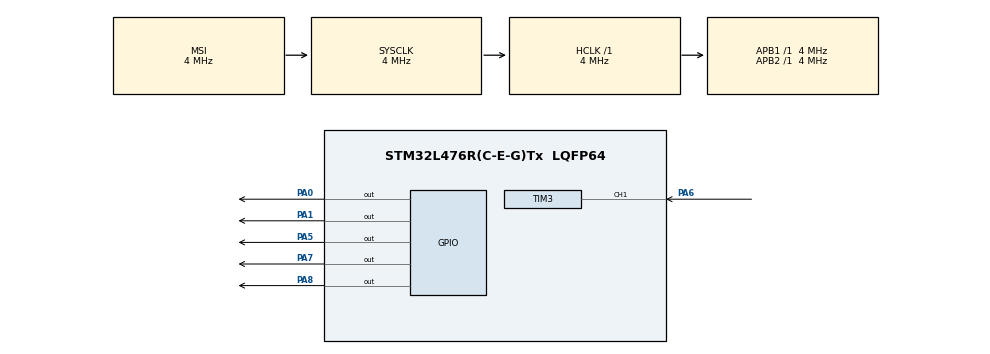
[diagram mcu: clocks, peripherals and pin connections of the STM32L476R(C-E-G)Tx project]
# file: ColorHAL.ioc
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Mcu.Family=STM32L4
Mcu.Name=STM32L476R(C-E-G)Tx
Mcu.Package=LQFP64
NVIC.PriorityGroup=NVIC_PRIORITYGROUP_4
NVIC.TIM2_IRQn=true\:0\:0\:false\:false\:true\:true\:true
PA0.Signal=GPIO_Output
PA1.Signal=GPIO_Output
PA5.Signal=GPIO_Output
PA6.Signal=S_TIM3_CH1
PA7.Signal=GPIO_Output
PA8.Signal=GPIO_Output
ProjectManager.HeapSize=0x200
ProjectManager.StackSize=0x400
ProjectManager.TargetToolchain=MDK-ARM V5.27
RCC.ADCFreq_Value=64000000
RCC.AHBFreq_Value=4000000
RCC.APB1Freq_Value=4000000
RCC.APB1TimFreq_Value=4000000
RCC.APB2Freq_Value=4000000
RCC.APB2TimFreq_Value=4000000
RCC.CortexFreq_Value=4000000
RCC.HCLKFreq_Value=4000000
RCC.HSE_VALUE=8000000
RCC.HSI_VALUE=16000000
RCC.LSE_VALUE=32768
RCC.MSI_VALUE=4000000
RCC.PLLN=10
RCC.PLLSourceVirtual=RCC_PLLSOURCE_HSI
RCC.PREFETCH_ENABLE=1
RCC.SYSCLKFreq_VALUE=4000000
RCC.USBFreq_Value=64000000
RCC.VCOOutputFreq_Value=160000000
SH.S_TIM3_CH1.0=TIM3_CH1,TriggerSource_TI1FP1
TIM2.Period=3999
TIM2.Prescaler=9
TIM3.CounterMode=TIM_COUNTERMODE_UP
TIM3.Period=0xffff
TIM3.Prescaler=0
TIM3.Slave_TriggerPolarity=TIM_TRIGGERPOLARITY_FALLING
TIM3.TIM_MasterOutputTrigger=TIM_TRGO_UPDATE
TIM3.TIM_MasterSlaveMode=TIM_MASTERSLAVEMODE_DISABLE
VP_TIM2_VS_ClockSourceINT.Mode=Internal
VP_TIM3_VS_ControllerModeClock.Mode=Clock Mode
board=NUCLEO-L476RG

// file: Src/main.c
/* USER CODE BEGIN Header */
/**
  ******************************************************************************
  * @file           : main.c
  * @brief          : Main program body
  ******************************************************************************
  * @attention
  *
  * <h2><center>&copy; Copyright (c) 2021 STMicroelectronics.
  * All rights reserved.</center></h2>
  *
  * This software component is licensed by ST under BSD 3-Clause license,
  * the "License"; You may not use this file except in compliance with the
  * License. You may obtain a copy of the License at:
  *                        opensource.org/licenses/BSD-3-Clause
  *
  ******************************************************************************
  */
/* USER CODE END Header */

#include "main.h"

TIM_HandleTypeDef htim2;
TIM_HandleTypeDef htim3;

void SystemClock_Config(void);
static void MX_GPIO_Init(void);
static void MX_TIM2_Init(void);
static void MX_TIM3_Init(void);

/* USER CODE BEGIN 0 */
short count; //用来判断是第几次
short RGB[3];//用来存放读取回来的数据
short R,G,B; //存放比例系数

/* USER CODE END 0 */

int main(void)
{

  /* MCU Configuration--------------------------------------------------------*/

  /* Reset of all peripherals, Initializes the Flash interface and the Systick. */
  HAL_Init();

  /* Configure the system clock */
  SystemClock_Config();

  /* Initialize all configured peripherals */
  MX_GPIO_Init();
  MX_TIM2_Init();
  MX_TIM3_Init();
  /* USER CODE BEGIN 2 */
  HAL_GPIO_WritePin(GPIOA, GPIO_PIN_5, GPIO_PIN_SET);
  HAL_GPIO_WritePin(GPIOA, GPIO_PIN_0, GPIO_PIN_RESET);
  HAL_GPIO_WritePin(GPIOA, GPIO_PIN_1, GPIO_PIN_RESET);
  HAL_GPIO_WritePin(GPIOA, GPIO_PIN_7, GPIO_PIN_SET);
  HAL_GPIO_WritePin(GPIOA, GPIO_PIN_8, GPIO_PIN_SET);
  __HAL_TIM_CLEAR_IT(&htim2,TIM_IT_UPDATE);
  HAL_TIM_Base_Start_IT(&htim2);
  __HAL_TIM_CLEAR_IT(&htim3,TIM_IT_UPDATE);
  HAL_TIM_Base_Start(&htim3);
  count = 0;
  RGB[0]=0;
  RGB[1]=0;
  RGB[2]=0;
  R=3;
  G=3;
  B=4;
  /* USER CODE END 2 */

  /* Infinite loop */
  while (1)
  {

  }
}

void SystemClock_Config(void)
{
  RCC_OscInitTypeDef RCC_OscInitStruct = {0};
  RCC_ClkInitTypeDef RCC_ClkInitStruct = {0};

  /** Initializes the CPU, AHB and APB busses clocks
  */
  RCC_OscInitStruct.OscillatorType = RCC_OSCILLATORTYPE_MSI;
  RCC_OscInitStruct.MSIState = RCC_MSI_ON;
  RCC_OscInitStruct.MSICalibrationValue = 0;
  RCC_OscInitStruct.MSIClockRange = RCC_MSIRANGE_6;
  RCC_OscInitStruct.PLL.PLLState = RCC_PLL_NONE;
  if (HAL_RCC_OscConfig(&RCC_OscInitStruct) != HAL_OK)
  {
    Error_Handler();
  }
  /** Initializes the CPU, AHB and APB busses clocks
  */
  RCC_ClkInitStruct.ClockType = RCC_CLOCKTYPE_HCLK|RCC_CLOCKTYPE_SYSCLK
                              |RCC_CLOCKTYPE_PCLK1|RCC_CLOCKTYPE_PCLK2;
  RCC_ClkInitStruct.SYSCLKSource = RCC_SYSCLKSOURCE_MSI;
  RCC_ClkInitStruct.AHBCLKDivider = RCC_SYSCLK_DIV1;
  RCC_ClkInitStruct.APB1CLKDivider = RCC_HCLK_DIV1;
  RCC_ClkInitStruct.APB2CLKDivider = RCC_HCLK_DIV1;

  if (HAL_RCC_ClockConfig(&RCC_ClkInitStruct, FLASH_LATENCY_0) != HAL_OK)
  {
    Error_Handler();
  }
  /** Configure the main internal regulator output voltage
  */
  if (HAL_PWREx_ControlVoltageScaling(PWR_REGULATOR_VOLTAGE_SCALE1) != HAL_OK)
  {
    Error_Handler();
  }
}

static void MX_TIM2_Init(void)
{

  TIM_ClockConfigTypeDef sClockSourceConfig = {0};
  TIM_MasterConfigTypeDef sMasterConfig = {0};

  htim2.Instance = TIM2;
  htim2.Init.Prescaler = 9;
  htim2.Init.CounterMode = TIM_COUNTERMODE_UP;
  htim2.Init.Period = 3999;
  htim2.Init.ClockDivision = TIM_CLOCKDIVISION_DIV1;
  htim2.Init.AutoReloadPreload = TIM_AUTORELOAD_PRELOAD_DISABLE;
  if (HAL_TIM_Base_Init(&htim2) != HAL_OK)
  {
    Error_Handler();
  }
  sClockSourceConfig.ClockSource = TIM_CLOCKSOURCE_INTERNAL;
  if (HAL_TIM_ConfigClockSource(&htim2, &sClockSourceConfig) != HAL_OK)
  {
    Error_Handler();
  }
  sMasterConfig.MasterOutputTrigger = TIM_TRGO_RESET;
  sMasterConfig.MasterSlaveMode = TIM_MASTERSLAVEMODE_DISABLE;
  if (HAL_TIMEx_MasterConfigSynchronization(&htim2, &sMasterConfig) != HAL_OK)
  {
    Error_Handler();
  }

}

static void MX_TIM3_Init(void)
{

  TIM_SlaveConfigTypeDef sSlaveConfig = {0};
  TIM_MasterConfigTypeDef sMasterConfig = {0};

  htim3.Instance = TIM3;
  htim3.Init.Prescaler = 0;
  htim3.Init.CounterMode = TIM_COUNTERMODE_UP;
  htim3.Init.Period = 0xffff;
  htim3.Init.ClockDivision = TIM_CLOCKDIVISION_DIV1;
  htim3.Init.AutoReloadPreload = TIM_AUTORELOAD_PRELOAD_DISABLE;
  if (HAL_TIM_Base_Init(&htim3) != HAL_OK)
  {
    Error_Handler();
  }
  sSlaveConfig.SlaveMode = TIM_SLAVEMODE_EXTERNAL1;
  sSlaveConfig.InputTrigger = TIM_TS_TI1FP1;
  sSlaveConfig.TriggerPolarity = TIM_TRIGGERPOLARITY_FALLING;
  sSlaveConfig.TriggerFilter = 0;
  if (HAL_TIM_SlaveConfigSynchro(&htim3, &sSlaveConfig) != HAL_OK)
  {
    Error_Handler();
  }
  sMasterConfig.MasterOutputTrigger = TIM_TRGO_UPDATE;
  sMasterConfig.MasterSlaveMode = TIM_MASTERSLAVEMODE_DISABLE;
  if (HAL_TIMEx_MasterConfigSynchronization(&htim3, &sMasterConfig) != HAL_OK)
  {
    Error_Handler();
  }

}

static void MX_GPIO_Init(void)
{
  GPIO_InitTypeDef GPIO_InitStruct = {0};

  /* GPIO Ports Clock Enable */
  __HAL_RCC_GPIOA_CLK_ENABLE();

  /*Configure GPIO pin Output Level */
  HAL_GPIO_WritePin(GPIOA, GPIO_PIN_0|GPIO_PIN_1|GPIO_PIN_5|GPIO_PIN_7
                          |GPIO_PIN_8, GPIO_PIN_RESET);

  /*Configure GPIO pins : PA0 PA1 PA5 PA7
                           PA8 */
  GPIO_InitStruct.Pin = GPIO_PIN_0|GPIO_PIN_1|GPIO_PIN_5|GPIO_PIN_7
                          |GPIO_PIN_8;
  GPIO_InitStruct.Mode = GPIO_MODE_OUTPUT_PP;
  GPIO_InitStruct.Pull = GPIO_NOPULL;
  GPIO_InitStruct.Speed = GPIO_SPEED_FREQ_LOW;
  HAL_GPIO_Init(GPIOA, &GPIO_InitStruct);

}

void Error_Handler(void)
{
}

/************************ (C) COPYRIGHT STMicroelectronics *****END OF FILE****/
